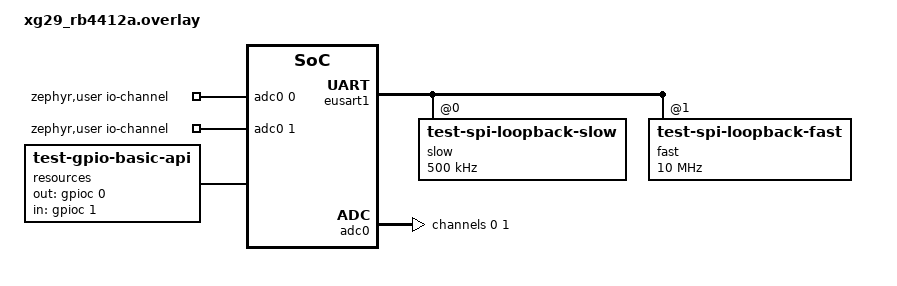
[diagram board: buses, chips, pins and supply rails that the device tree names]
/*
 * Copyright (c) 2025 Silicon Laboratories, Inc.
 *
 * SPDX-License-Identifier: Apache-2.0
 */

&dma0 {
	status = "okay";
};

tst_dma0: &dma0 {};

#include <zephyr/dt-bindings/pinctrl/silabs/xg29-pinctrl.h>

&eusart1 {
	dmas = <&dma0 DMA_REQSEL_EUSART1TXFL>,
	       <&dma0 DMA_REQSEL_EUSART1RXFL>;
	dma-names = "tx", "rx";
	#address-cells = <1>;
	#size-cells = <0>;
	pinctrl-0 = <&eusart1_default>;
	pinctrl-names = "default";
	status = "okay";
	cs-gpios = <&gpioc 0 GPIO_ACTIVE_LOW>;
	slow@0 {
		compatible = "test-spi-loopback-slow";
		reg = <0>;
		spi-max-frequency = <500000>;
	};
	fast@1 {
		compatible = "test-spi-loopback-fast";
		reg = <1>;
		spi-max-frequency = <10000000>;
	};
};

#include "dt-bindings/adc/silabs-adc.h"

/ {
	zephyr,user {
		io-channels = <&adc0 0>, <&adc0 1>;
	};
};

&adc0 {
	status = "okay";
	#address-cells = <1>;
	#size-cells = <0>;
	dmas = <&dma0 DMA_REQSEL_IADC0IADC_SCAN>;
	channel@0 {
		reg = <0>;
		zephyr,gain = "ADC_GAIN_1";
		zephyr,reference = "ADC_REF_INTERNAL";
		zephyr,acquisition-time = <ADC_ACQ_TIME_DEFAULT>;
		zephyr,resolution = <12>;
		zephyr,input-positive = <IADC_INPUT_IOVDD>;
	};
	channel@1 {
		reg = <1>;
		zephyr,gain = "ADC_GAIN_1";
		zephyr,reference = "ADC_REF_INTERNAL";
		zephyr,acquisition-time = <ADC_ACQ_TIME_DEFAULT>;
		zephyr,resolution = <12>;
		zephyr,input-positive = <IADC_INPUT_VBAT>;
	};
};

/ {
	resources {
		compatible = "test-gpio-basic-api";
		out-gpios = <&gpioc 0 0>;
		in-gpios = <&gpioc 1 0>;
	};
};
